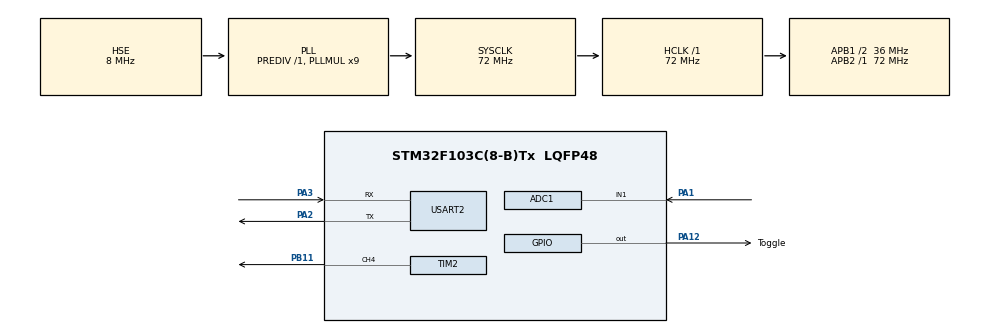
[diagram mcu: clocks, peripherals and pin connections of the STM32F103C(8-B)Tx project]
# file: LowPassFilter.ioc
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ADC1.Channel-0\#ChannelRegularConversion=ADC_CHANNEL_1
ADC1.ContinuousConvMode=ENABLE
ADC1.NbrOfConversionFlag=1
ADC1.Rank-0\#ChannelRegularConversion=1
ADC1.SamplingTime-0\#ChannelRegularConversion=ADC_SAMPLETIME_1CYCLE_5
ADC1.master=1
Mcu.Family=STM32F1
Mcu.Name=STM32F103C(8-B)Tx
Mcu.Package=LQFP48
NVIC.ADC1_2_IRQn=true\:0\:0\:false\:false\:true\:true\:true
NVIC.PriorityGroup=NVIC_PRIORITYGROUP_4
PA1.Signal=ADCx_IN1
PA12.GPIO_Label=Toggle
PA12.Signal=GPIO_Output
PA2.Mode=Asynchronous
PA2.Signal=USART2_TX
PA3.Mode=Asynchronous
PA3.Signal=USART2_RX
PB11.Signal=S_TIM2_CH4
PD0-OSC_IN.Mode=HSE-External-Oscillator
PD0-OSC_IN.Signal=RCC_OSC_IN
PD1-OSC_OUT.Mode=HSE-External-Oscillator
PD1-OSC_OUT.Signal=RCC_OSC_OUT
ProjectManager.HeapSize=0x200
ProjectManager.StackSize=0x400
ProjectManager.TargetToolchain=STM32CubeIDE
RCC.ADCPresc=RCC_ADCPCLK2_DIV6
RCC.AHBFreq_Value=72000000
RCC.APB1CLKDivider=RCC_HCLK_DIV2
RCC.APB1Freq_Value=36000000
RCC.APB1TimFreq_Value=72000000
RCC.APB2Freq_Value=72000000
RCC.APB2TimFreq_Value=72000000
RCC.HCLKFreq_Value=72000000
RCC.PLLMUL=RCC_PLL_MUL9
RCC.PLLSourceVirtual=RCC_PLLSOURCE_HSE
RCC.SYSCLKFreq_VALUE=72000000
RCC.SYSCLKSource=RCC_SYSCLKSOURCE_PLLCLK
RCC.USBFreq_Value=72000000
SH.ADCx_IN1.0=ADC1_IN1,IN1
SH.S_TIM2_CH4.0=TIM2_CH4,PWM Generation4 CH4
TIM2.Channel-PWM\ Generation4\ CH4=TIM_CHANNEL_4
TIM2.Period=4096
USART2.VirtualMode=VM_ASYNC
VP_SYS_VS_ND.Mode=No_Debug
board=custom

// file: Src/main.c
/* USER CODE BEGIN Header */
/**
  ******************************************************************************
  * @file           : main.c
  * @brief          : Main program body
  ******************************************************************************
  * @attention
  *
  * <h2><center>&copy; Copyright (c) 2019 STMicroelectronics.
  * All rights reserved.</center></h2>
  *
  * This software component is licensed by ST under BSD 3-Clause license,
  * the "License"; You may not use this file except in compliance with the
  * License. You may obtain a copy of the License at:
  *                        opensource.org/licenses/BSD-3-Clause
  *
  ******************************************************************************
  */
/* USER CODE END Header */

#include "main.h"

/* USER CODE BEGIN Includes */

#include <math.h>
#include <string.h>
#include <stdio.h>

/* USER CODE END Includes */

ADC_HandleTypeDef hadc1;

TIM_HandleTypeDef htim2;

UART_HandleTypeDef huart2;

void SystemClock_Config(void);
static void MX_GPIO_Init(void);
static void MX_ADC1_Init(void);
static void MX_USART2_UART_Init(void);
static void MX_TIM2_Init(void);

/* USER CODE BEGIN 0 */

uint32_t prevIn = 0;
uint32_t prevOut = 0;

//tau = R*C;
#define periodOverTau 0.0000035/0.012 // ou 292/1000000

// 100x a constante de tempo do filtro passa baixo da saida
#define OneMinusPeriodOverTau 1-periodOverTau

/* USER CODE END 0 */

int main(void)
{

  /* MCU Configuration--------------------------------------------------------*/

  /* Reset of all peripherals, Initializes the Flash interface and the Systick. */
  HAL_Init();

  /* Configure the system clock */
  SystemClock_Config();

  /* Initialize all configured peripherals */
  MX_GPIO_Init();
  MX_ADC1_Init();
  MX_USART2_UART_Init();
  MX_TIM2_Init();
  /* USER CODE BEGIN 2 */

  HAL_NVIC_SetPriority(ADC1_IRQn, 0, 0);
  HAL_NVIC_EnableIRQ(ADC1_IRQn);

  HAL_ADC_Start_IT(&hadc1);

  HAL_UART_Transmit(&huart2, (uint8_t*) "Inicio!\r\n", strlen("Inicio!\r\n"), HAL_MAX_DELAY);

  /* USER CODE END 2 */

  /* Infinite loop */
  while (1)
  {

    /* USER CODE BEGIN 3 */

//	  uint16_t rawValue;
//
//	  HAL_ADC_PollForConversion(&hadc1, HAL_MAX_DELAY);
//
//	  rawValue = HAL_ADC_GetValue(&hadc1);
//
//	  HAL_Delay(1);

  }
  /* USER CODE END 3 */
}

void SystemClock_Config(void)
{
  RCC_OscInitTypeDef RCC_OscInitStruct = {0};
  RCC_ClkInitTypeDef RCC_ClkInitStruct = {0};
  RCC_PeriphCLKInitTypeDef PeriphClkInit = {0};

  /** Initializes the CPU, AHB and APB busses clocks
  */
  RCC_OscInitStruct.OscillatorType = RCC_OSCILLATORTYPE_HSE;
  RCC_OscInitStruct.HSEState = RCC_HSE_ON;
  RCC_OscInitStruct.HSEPredivValue = RCC_HSE_PREDIV_DIV1;
  RCC_OscInitStruct.HSIState = RCC_HSI_ON;
  RCC_OscInitStruct.PLL.PLLState = RCC_PLL_ON;
  RCC_OscInitStruct.PLL.PLLSource = RCC_PLLSOURCE_HSE;
  RCC_OscInitStruct.PLL.PLLMUL = RCC_PLL_MUL9;
  if (HAL_RCC_OscConfig(&RCC_OscInitStruct) != HAL_OK)
  {
    Error_Handler();
  }
  /** Initializes the CPU, AHB and APB busses clocks
  */
  RCC_ClkInitStruct.ClockType = RCC_CLOCKTYPE_HCLK|RCC_CLOCKTYPE_SYSCLK
                              |RCC_CLOCKTYPE_PCLK1|RCC_CLOCKTYPE_PCLK2;
  RCC_ClkInitStruct.SYSCLKSource = RCC_SYSCLKSOURCE_PLLCLK;
  RCC_ClkInitStruct.AHBCLKDivider = RCC_SYSCLK_DIV1;
  RCC_ClkInitStruct.APB1CLKDivider = RCC_HCLK_DIV2;
  RCC_ClkInitStruct.APB2CLKDivider = RCC_HCLK_DIV1;

  if (HAL_RCC_ClockConfig(&RCC_ClkInitStruct, FLASH_LATENCY_2) != HAL_OK)
  {
    Error_Handler();
  }
  PeriphClkInit.PeriphClockSelection = RCC_PERIPHCLK_ADC;
  PeriphClkInit.AdcClockSelection = RCC_ADCPCLK2_DIV6;
  if (HAL_RCCEx_PeriphCLKConfig(&PeriphClkInit) != HAL_OK)
  {
    Error_Handler();
  }
}

static void MX_ADC1_Init(void)
{

  ADC_ChannelConfTypeDef sConfig = {0};

  /** Common config
  */
  hadc1.Instance = ADC1;
  hadc1.Init.ScanConvMode = ADC_SCAN_DISABLE;
  hadc1.Init.ContinuousConvMode = ENABLE;
  hadc1.Init.DiscontinuousConvMode = DISABLE;
  hadc1.Init.ExternalTrigConv = ADC_SOFTWARE_START;
  hadc1.Init.DataAlign = ADC_DATAALIGN_RIGHT;
  hadc1.Init.NbrOfConversion = 1;
  if (HAL_ADC_Init(&hadc1) != HAL_OK)
  {
    Error_Handler();
  }
  /** Configure Regular Channel
  */
  sConfig.Channel = ADC_CHANNEL_1;
  sConfig.Rank = ADC_REGULAR_RANK_1;
  sConfig.SamplingTime = ADC_SAMPLETIME_1CYCLE_5;
  if (HAL_ADC_ConfigChannel(&hadc1, &sConfig) != HAL_OK)
  {
    Error_Handler();
  }

}

static void MX_TIM2_Init(void)
{

  TIM_MasterConfigTypeDef sMasterConfig = {0};
  TIM_OC_InitTypeDef sConfigOC = {0};

  htim2.Instance = TIM2;
  htim2.Init.Prescaler = 0;
  htim2.Init.CounterMode = TIM_COUNTERMODE_UP;
  htim2.Init.Period = 4096;
  htim2.Init.ClockDivision = TIM_CLOCKDIVISION_DIV1;
  htim2.Init.AutoReloadPreload = TIM_AUTORELOAD_PRELOAD_DISABLE;
  if (HAL_TIM_PWM_Init(&htim2) != HAL_OK)
  {
    Error_Handler();
  }
  sMasterConfig.MasterOutputTrigger = TIM_TRGO_RESET;
  sMasterConfig.MasterSlaveMode = TIM_MASTERSLAVEMODE_DISABLE;
  if (HAL_TIMEx_MasterConfigSynchronization(&htim2, &sMasterConfig) != HAL_OK)
  {
    Error_Handler();
  }
  sConfigOC.OCMode = TIM_OCMODE_PWM1;
  sConfigOC.Pulse = 0;
  sConfigOC.OCPolarity = TIM_OCPOLARITY_HIGH;
  sConfigOC.OCFastMode = TIM_OCFAST_DISABLE;
  if (HAL_TIM_PWM_ConfigChannel(&htim2, &sConfigOC, TIM_CHANNEL_4) != HAL_OK)
  {
    Error_Handler();
  }
  /* USER CODE BEGIN TIM2_Init 2 */

  HAL_TIM_PWM_Start(&htim2, TIM_CHANNEL_4);

  /* USER CODE END TIM2_Init 2 */
  HAL_TIM_MspPostInit(&htim2);

}

static void MX_USART2_UART_Init(void)
{

  huart2.Instance = USART2;
  huart2.Init.BaudRate = 115200;
  huart2.Init.WordLength = UART_WORDLENGTH_8B;
  huart2.Init.StopBits = UART_STOPBITS_1;
  huart2.Init.Parity = UART_PARITY_NONE;
  huart2.Init.Mode = UART_MODE_TX_RX;
  huart2.Init.HwFlowCtl = UART_HWCONTROL_NONE;
  huart2.Init.OverSampling = UART_OVERSAMPLING_16;
  if (HAL_UART_Init(&huart2) != HAL_OK)
  {
    Error_Handler();
  }

}

static void MX_GPIO_Init(void)
{
  GPIO_InitTypeDef GPIO_InitStruct = {0};

  /* GPIO Ports Clock Enable */
  __HAL_RCC_GPIOD_CLK_ENABLE();
  __HAL_RCC_GPIOA_CLK_ENABLE();
  __HAL_RCC_GPIOB_CLK_ENABLE();

  /*Configure GPIO pin Output Level */
  HAL_GPIO_WritePin(Toggle_GPIO_Port, Toggle_Pin, GPIO_PIN_RESET);

  /*Configure GPIO pin : Toggle_Pin */
  GPIO_InitStruct.Pin = Toggle_Pin;
  GPIO_InitStruct.Mode = GPIO_MODE_OUTPUT_PP;
  GPIO_InitStruct.Pull = GPIO_NOPULL;
  GPIO_InitStruct.Speed = GPIO_SPEED_FREQ_LOW;
  HAL_GPIO_Init(Toggle_GPIO_Port, &GPIO_InitStruct);

}

/* USER CODE BEGIN 4 */

void ADC_IRQHandler(void) {

	HAL_UART_Transmit(&huart2, (uint8_t*) "Handle\n", 7, HAL_MAX_DELAY);
	HAL_ADC_IRQHandler(&hadc1);
}

void HAL_ADC_ConvCpltCallback(ADC_HandleTypeDef* hadc) {

	//Frequency = 189 kHz
	//HAL_GPIO_TogglePin(GPIOA, Toggle_Pin);

	prevIn = HAL_ADC_GetValue(&hadc1);
	prevOut = (double)OneMinusPeriodOverTau*(double)prevOut+(double)periodOverTau*(double)prevIn;
	//TIM1->CCR1 = (uint16_t)(int)round(prevOut);
//	prevIn = HAL_ADC_GetValue(&hadc1);

	//prevOut = (OneMinusPeriodOverTau*prevOut+periodOverTau*(double)prevIn);

	TIM2->CCR4 = prevOut;

	char val[60];
	sprintf(val, "In: %lu \r\n", prevOut);
	HAL_UART_Transmit(&huart2, (uint8_t*) val, strlen(val), HAL_MAX_DELAY);

}

/* USER CODE END 4 */

void Error_Handler(void)
{
  /* USER CODE BEGIN Error_Handler_Debug */
  /* User can add his own implementation to report the HAL error return state */

	//HAL_UART_Transmit(&huart2, (uint8_t*) "Error\r\n", strlen("Error\r\n"), HAL_MAX_DELAY);

  /* USER CODE END Error_Handler_Debug */
}

/************************ (C) COPYRIGHT STMicroelectronics *****END OF FILE****/
